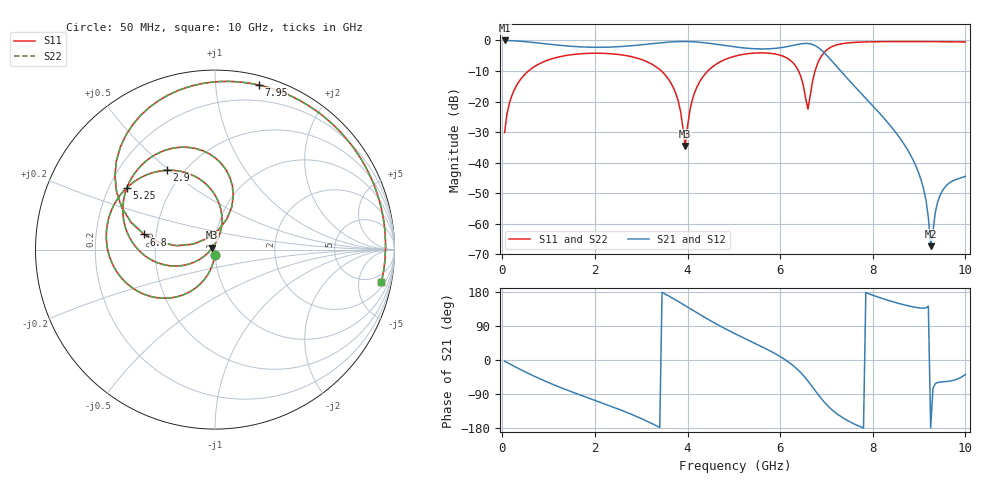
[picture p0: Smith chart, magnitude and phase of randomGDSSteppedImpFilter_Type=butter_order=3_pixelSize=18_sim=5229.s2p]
! freq	dB(S11)	phase(S11)	dB(S12)	phase(S12)
!  dB(S21)	phase(S21)	dB(S22)	phase(S22)
!S-par simulation data
#  GHz  S  DB  R 50
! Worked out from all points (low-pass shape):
!   200 points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, 50 MHz to 10 GHz, reference 50 ohm
!   highest |S21| = -0.01 dB at 50 MHz (marker M1); lowest = -67.4 dB at 9.25 GHz (marker M2)
!   |S21| within 3 dB of the highest: start of sweep to 6.878 GHz
!   lowest |S11| = -34.5 dB at 3.95 GHz (marker M3), VSWR 1.04, Z = 48.4 + j0.992 ohm
!   |S11| at or under -10 dB: start of sweep to 566.6 MHz; 3.433 GHz to 4.44 GHz (1.007 GHz wide, 25.6 % of centre); 6.397 GHz to 6.753 GHz (356.5 MHz wide, 5.42 % of centre)
!   |S22| runs from -34.5 to -0.4 dB; largest |S21 - S12| = 0
!   S11 on the Smith chart (normalised r, x): 50 MHz: 0.99, -0.06; 2.9 GHz: 0.41, +0.49; 5.25 GHz: 0.27, +0.29; 6.8 GHz: 0.43, +0.09; 7.95 GHz: 0.07, +1.30; 10 GHz: 3, -10
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0.05  -30.19 -93.5  -0.01 -3.3  -0.01 -3.3  -30.19 -93.5
0.5  -10.92 -122.2  -0.41 -31.7  -0.41 -31.7  -10.92 -122.2
1.75  -4.31 174.2  -2.15 -95.3  -2.15 -95.3  -4.31 174.2
2.9  -5.74 121.2  -1.58 -149.1  -1.58 -149.1  -5.74 121.2
3.4  -9.56 93.3  -0.79 -178.2  -0.79 -178.2  -9.56 93.4
3.75  -17.50 74.2  -0.40 158.0  -0.40 158.0  -17.50 74.2
3.95  -34.53 147.0  -0.35 143.4  -0.35 143.4  -34.48 146.9
4.25  -13.85 -154.0  -0.58 121.3  -0.58 121.3  -13.85 -154.0
5.05  -5.04 156.6  -2.18 67.8  -2.18 67.8  -5.04 156.6
5.25  -4.45 145.1  -2.51 55.9  -2.51 55.9  -4.45 145.1
6.25  -6.90 82.4  -1.73 -11.7  -1.73 -11.7  -6.90 82.5
6.6  -22.50 124.0  -1.01 -55.4  -1.01 -55.4  -22.38 123.9
6.7  -13.35 174.3  -1.33 -71.5  -1.33 -71.5  -13.33 174.0
6.8  -7.87 168.0  -2.10 -88.0  -2.10 -88.0  -7.87 167.8
7.3  -1.17 114.6  -9.88 -148.3  -9.88 -148.3  -1.17 114.5
7.95  -0.45 75.2  -20.59 173.2  -20.59 173.2  -0.45 75.1
8.35  -0.39 56.6  -27.37 156.7  -27.37 156.7  -0.39 56.6
9  -0.38 29.2  -43.73 137.4  -43.73 137.4  -0.38 29.1
9.15  -0.39 23.1  -52.42 137.8  -52.42 137.8  -0.39 23.0
9.25  -0.39 19.0  -67.37 -178.4  -67.37 -178.4  -0.39 19.0
9.45  -0.41 11.0  -50.82 -58.4  -50.82 -58.4  -0.41 10.9
10  -0.49 -10.9  -44.51 -38.4  -44.51 -38.4  -0.50 -11.0
